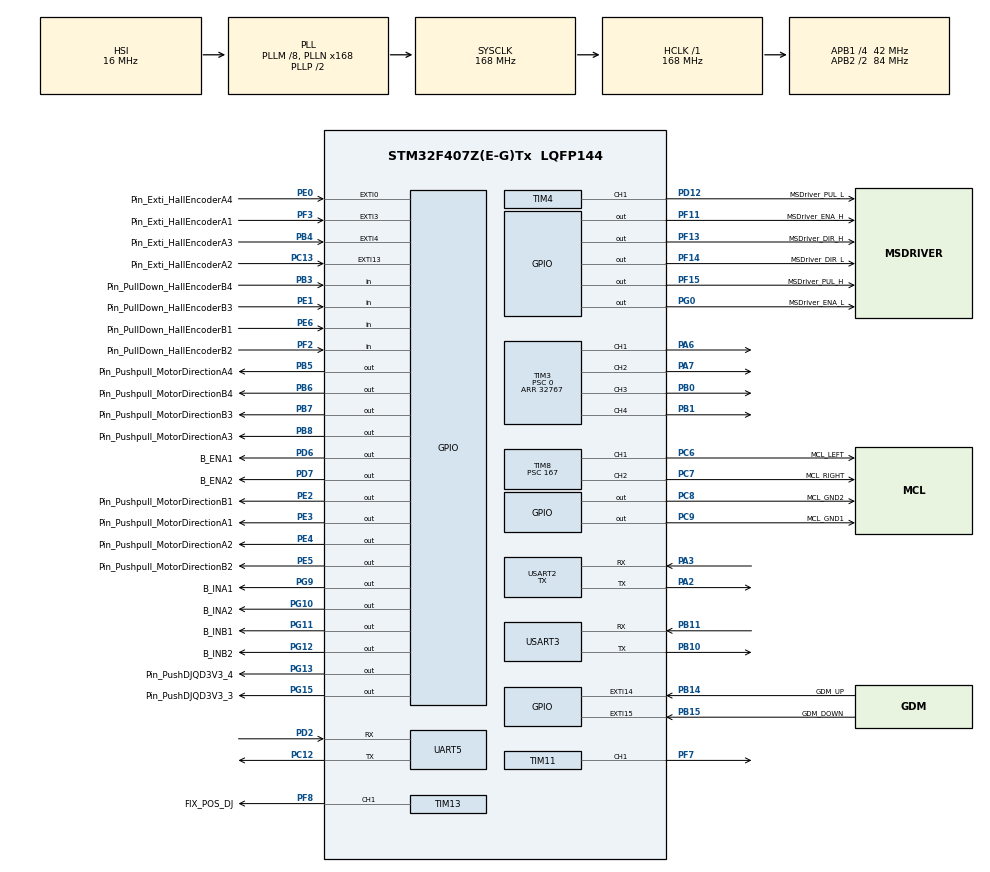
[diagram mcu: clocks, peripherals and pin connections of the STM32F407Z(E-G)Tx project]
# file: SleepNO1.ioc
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Dma.Request0=USART3_RX
Dma.Request1=USART3_TX
Dma.USART3_RX.0.Direction=DMA_PERIPH_TO_MEMORY
Dma.USART3_RX.0.FIFOMode=DMA_FIFOMODE_DISABLE
Dma.USART3_RX.0.Instance=DMA1_Stream1
Dma.USART3_RX.0.MemDataAlignment=DMA_MDATAALIGN_BYTE
Dma.USART3_RX.0.MemInc=DMA_MINC_ENABLE
Dma.USART3_RX.0.Mode=DMA_NORMAL
Dma.USART3_RX.0.PeriphDataAlignment=DMA_PDATAALIGN_BYTE
Dma.USART3_RX.0.PeriphInc=DMA_PINC_DISABLE
Dma.USART3_RX.0.Priority=DMA_PRIORITY_LOW
Dma.USART3_TX.1.Direction=DMA_MEMORY_TO_PERIPH
Dma.USART3_TX.1.FIFOMode=DMA_FIFOMODE_DISABLE
Dma.USART3_TX.1.Instance=DMA1_Stream3
Dma.USART3_TX.1.MemDataAlignment=DMA_MDATAALIGN_BYTE
Dma.USART3_TX.1.MemInc=DMA_MINC_ENABLE
Dma.USART3_TX.1.Mode=DMA_NORMAL
Dma.USART3_TX.1.PeriphDataAlignment=DMA_PDATAALIGN_BYTE
Dma.USART3_TX.1.PeriphInc=DMA_PINC_DISABLE
Dma.USART3_TX.1.Priority=DMA_PRIORITY_LOW
Mcu.Family=STM32F4
Mcu.Name=STM32F407Z(E-G)Tx
Mcu.Package=LQFP144
NVIC.DMA1_Stream1_IRQn=true\:0\:0\:false\:false\:true\:false\:true\:true
NVIC.DMA1_Stream3_IRQn=true\:0\:0\:false\:false\:true\:false\:true\:true
NVIC.EXTI0_IRQn=true\:0\:0\:false\:false\:true\:true\:true\:true
NVIC.EXTI15_10_IRQn=true\:0\:0\:false\:false\:true\:true\:true\:true
NVIC.EXTI3_IRQn=true\:0\:0\:false\:false\:true\:true\:true\:true
NVIC.EXTI4_IRQn=true\:0\:0\:false\:false\:true\:true\:true\:true
NVIC.PriorityGroup=NVIC_PRIORITYGROUP_4
NVIC.RCC_IRQn=true\:0\:0\:false\:false\:true\:true\:false\:true
NVIC.TIM3_IRQn=true\:0\:0\:false\:false\:true\:true\:true\:true
NVIC.TIM4_IRQn=true\:0\:0\:false\:false\:true\:true\:true\:true
NVIC.TIM5_IRQn=true\:0\:0\:false\:false\:true\:true\:true\:true
NVIC.TIM8_TRG_COM_TIM14_IRQn=true\:0\:0\:true\:false\:true\:true\:true\:true
NVIC.USART3_IRQn=true\:1\:0\:true\:false\:true\:true\:true\:true
PA13.Mode=Serial_Wire
PA13.Signal=SYS_JTMS-SWDIO
PA14.Mode=Serial_Wire
PA14.Signal=SYS_JTCK-SWCLK
PA2.Mode=Asynchronous
PA2.Signal=USART2_TX
PA3.Mode=Asynchronous
PA3.Signal=USART2_RX
PA6.Signal=S_TIM3_CH1
PA7.Signal=S_TIM3_CH2
PB0.Signal=S_TIM3_CH3
PB1.Signal=S_TIM3_CH4
PB10.Mode=Asynchronous
PB10.Signal=USART3_TX
PB11.Mode=Asynchronous
PB11.Signal=USART3_RX
PB14.GPIO_Label=GDM_UP
PB14.GPIO_PuPd=GPIO_PULLDOWN
PB14.Signal=GPXTI14
PB15.GPIO_Label=GDM_DOWN
PB15.GPIO_PuPd=GPIO_PULLDOWN
PB15.Signal=GPXTI15
PB3.GPIO_Label=Pin_PullDown_HallEncoderB4
PB3.GPIO_PuPd=GPIO_PULLDOWN
PB3.Signal=GPIO_Input
PB4.GPIO_Label=Pin_Exti_HallEncoderA3
PB4.Signal=GPXTI4
PB5.GPIO_Label=Pin_Pushpull_MotorDirectionA4
PB5.Signal=GPIO_Output
PB6.GPIO_Label=Pin_Pushpull_MotorDirectionB4
PB6.Signal=GPIO_Output
PB7.GPIO_Label=Pin_Pushpull_MotorDirectionB3
PB7.Signal=GPIO_Output
PB8.GPIO_Label=Pin_Pushpull_MotorDirectionA3
PB8.Signal=GPIO_Output
PC12.Mode=Asynchronous
PC12.Signal=UART5_TX
PC13-ANTI_TAMP.GPIO_Label=Pin_Exti_HallEncoderA2
PC13-ANTI_TAMP.Signal=GPXTI13
PC6.GPIO_Label=MCL_LEFT
PC6.Signal=S_TIM8_CH1
PC7.GPIO_Label=MCL_RIGHT
PC7.Signal=S_TIM8_CH2
PC8.GPIO_Label=MCL_GND2
PC8.Signal=GPIO_Output
PC9.GPIO_Label=MCL_GND1
PC9.Signal=GPIO_Output
PD12.GPIO_Label=MSDriver_PUL_L
PD12.Signal=S_TIM4_CH1
PD2.Mode=Asynchronous
PD2.Signal=UART5_RX
PD6.GPIO_Label=B_ENA1
PD6.Signal=GPIO_Output
PD7.GPIO_Label=B_ENA2
PD7.Signal=GPIO_Output
PE0.GPIO_Label=Pin_Exti_HallEncoderA4
PE0.Signal=GPXTI0
PE1.GPIO_Label=Pin_PullDown_HallEncoderB3
PE1.GPIO_PuPd=GPIO_PULLDOWN
PE1.Signal=GPIO_Input
PE2.GPIO_Label=Pin_Pushpull_MotorDirectionB1
PE2.Signal=GPIO_Output
PE3.GPIO_Label=Pin_Pushpull_MotorDirectionA1
PE3.Signal=GPIO_Output
PE4.GPIO_Label=Pin_Pushpull_MotorDirectionA2
PE4.Signal=GPIO_Output
PE5.GPIO_Label=Pin_Pushpull_MotorDirectionB2
PE5.Signal=GPIO_Output
PE6.GPIO_Label=Pin_PullDown_HallEncoderB1
PE6.GPIO_PuPd=GPIO_PULLDOWN
PE6.Signal=GPIO_Input
PF11.GPIO_Label=MSDriver_ENA_H
PF11.PinState=GPIO_PIN_SET
PF11.Signal=GPIO_Output
PF13.GPIO_Label=MSDriver_DIR_H
PF13.PinState=GPIO_PIN_SET
PF13.Signal=GPIO_Output
PF14.GPIO_Label=MSDriver_DIR_L
PF14.Signal=GPIO_Output
PF15.GPIO_Label=MSDriver_PUL_H
PF15.PinState=GPIO_PIN_SET
PF15.Signal=GPIO_Output
PF2.GPIO_Label=Pin_PullDown_HallEncoderB2
PF2.GPIO_PuPd=GPIO_PULLDOWN
PF2.Signal=GPIO_Input
PF3.GPIO_Label=Pin_Exti_HallEncoderA1
PF3.Signal=GPXTI3
PF7.Signal=S_TIM11_CH1
PF8.GPIO_Label=FIX_POS_DJ
PF8.Signal=S_TIM13_CH1
PG0.GPIO_Label=MSDriver_ENA_L
PG0.Signal=GPIO_Output
PG10.GPIO_Label=B_INA2
PG10.Signal=GPIO_Output
PG11.GPIO_Label=B_INB1
PG11.Signal=GPIO_Output
PG12.GPIO_Label=B_INB2
PG12.Signal=GPIO_Output
PG13.GPIO_Label=Pin_PushDJQD3V3_4
PG13.GPIO_PuPd=GPIO_NOPULL
PG13.PinState=GPIO_PIN_SET
PG13.Signal=GPIO_Output
PG15.GPIO_Label=Pin_PushDJQD3V3_3
PG15.GPIO_PuPd=GPIO_NOPULL
PG15.PinState=GPIO_PIN_SET
PG15.Signal=GPIO_Output
PG9.GPIO_Label=B_INA1
PG9.Signal=GPIO_Output
PH0-OSC_IN.Mode=HSE-External-Oscillator
PH0-OSC_IN.Signal=RCC_OSC_IN
PH1-OSC_OUT.Mode=HSE-External-Oscillator
PH1-OSC_OUT.Signal=RCC_OSC_OUT
ProjectManager.HeapSize=0x200
ProjectManager.StackSize=0x400
ProjectManager.TargetToolchain=MDK-ARM V5.32
RCC.48MHZClocksFreq_Value=84000000
RCC.AHBFreq_Value=168000000
RCC.APB1CLKDivider=RCC_HCLK_DIV4
RCC.APB1Freq_Value=42000000
RCC.APB1TimFreq_Value=84000000
RCC.APB2CLKDivider=RCC_HCLK_DIV2
RCC.APB2Freq_Value=84000000
RCC.APB2TimFreq_Value=168000000
RCC.CortexFreq_Value=168000000
RCC.HCLKFreq_Value=168000000
RCC.HSE_VALUE=25000000
RCC.HSI_VALUE=16000000
RCC.LSE_VALUE=32768
RCC.PLLM=8
RCC.PLLN=168
RCC.SYSCLKFreq_VALUE=168000000
RCC.SYSCLKSource=RCC_SYSCLKSOURCE_PLLCLK
RCC.VCOOutputFreq_Value=336000000
SH.S_TIM11_CH1.0=TIM11_CH1,PWM Generation1 CH1
SH.S_TIM13_CH1.0=TIM13_CH1,PWM Generation1 CH1
SH.S_TIM3_CH1.0=TIM3_CH1,PWM Generation1 CH1
SH.S_TIM3_CH2.0=TIM3_CH2,PWM Generation2 CH2
SH.S_TIM3_CH3.0=TIM3_CH3,PWM Generation3 CH3
SH.S_TIM3_CH4.0=TIM3_CH4,PWM Generation4 CH4
SH.S_TIM4_CH1.0=TIM4_CH1,PWM Generation1 CH1
SH.S_TIM8_CH1.0=TIM8_CH1,PWM Generation1 CH1
SH.S_TIM8_CH2.0=TIM8_CH2,PWM Generation2 CH2
TIM11.Channel=TIM_CHANNEL_1
TIM11.Period=19999
TIM11.Prescaler=167
TIM13.AutoReloadPreload=TIM_AUTORELOAD_PRELOAD_ENABLE
TIM13.Channel=TIM_CHANNEL_1
TIM13.Period=19999
TIM13.Prescaler=167
TIM14.Period=4999
TIM14.Prescaler=167
TIM3.AutoReloadPreload=TIM_AUTORELOAD_PRELOAD_ENABLE
TIM3.Channel-PWM\ Generation1\ CH1=TIM_CHANNEL_1
TIM3.Channel-PWM\ Generation2\ CH2=TIM_CHANNEL_2
TIM3.Channel-PWM\ Generation3\ CH3=TIM_CHANNEL_3
TIM3.Channel-PWM\ Generation4\ CH4=TIM_CHANNEL_4
TIM3.Period=32767
TIM3.Prescaler=0
TIM4.AutoReloadPreload=TIM_AUTORELOAD_PRELOAD_ENABLE
TIM4.Channel-PWM\ Generation1\ CH1=TIM_CHANNEL_1
TIM4.Period=1999
TIM4.Prescaler=167
TIM5.Period=4999
TIM5.Prescaler=167
TIM8.Channel-PWM\ Generation1\ CH1=TIM_CHANNEL_1
TIM8.Channel-PWM\ Generation2\ CH2=TIM_CHANNEL_2
TIM8.Period=1999
TIM8.Prescaler=167
UART5.VirtualMode=Asynchronous
USART2.Mode=MODE_TX
USART2.VirtualMode=VM_ASYNC
USART3.VirtualMode=VM_ASYNC
VP_TIM11_VS_ClockSourceINT.Mode=Enable_Timer
VP_TIM13_VS_ClockSourceINT.Mode=Enable_Timer
VP_TIM14_VS_ClockSourceINT.Mode=Enable_Timer
VP_TIM4_VS_ClockSourceINT.Mode=Internal
VP_TIM5_VS_ClockSourceINT.Mode=Internal
board=custom

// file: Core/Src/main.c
/* USER CODE BEGIN Header */
/**
  ******************************************************************************
  * @file           : main.c
  * @brief          : Main program body
  ******************************************************************************
  * @attention
  *
  * Copyright (c) 2024 STMicroelectronics.
  * All rights reserved.
  *
  * This software is licensed under terms that can be found in the LICENSE file
  * in the root directory of this software component.
  * If no LICENSE file comes with this software, it is provided AS-IS.
  *
  ******************************************************************************
  */
/* USER CODE END Header */
#include "main.h"
#include "dma.h"
#include "tim.h"
#include "usart.h"
#include "gpio.h"

/* USER CODE BEGIN Includes */
#include "Shoot.h"
#include "Chassis.hpp"
#include "com_to_raspi.h"
#include "camera_pos_dj.h"
#include "Task.h"

/* USER CODE END Includes */

/* USER CODE BEGIN PV */
Class_Chassis Chassis;
/* USER CODE END PV */

void SystemClock_Config(void);

/* USER CODE BEGIN 0 */
uint32_t cnt=0;
/* USER CODE END 0 */

int main(void)
{

  /* MCU Configuration--------------------------------------------------------*/

  /* Reset of all peripherals, Initializes the Flash interface and the Systick. */
  HAL_Init();

  /* Configure the system clock */
  SystemClock_Config();

  /* Initialize all configured peripherals */
  MX_GPIO_Init();
  MX_DMA_Init();
  MX_TIM4_Init();
  MX_TIM5_Init();
  MX_TIM14_Init();
  MX_TIM13_Init();
  MX_TIM3_Init();
  MX_USART2_UART_Init();
  MX_TIM11_Init();
  MX_TIM8_Init();
  MX_USART3_UART_Init();
  MX_UART5_Init();
  /* USER CODE BEGIN 2 */
  Task_TIM_Init(); //first!
  SHOOT_Init();
	CAMERA_POS_DJ_Init();
  JiXieBi_Init();
  com_raspi_Init();

//	HAL_UART_Receive_DMA(&huart3,(&huart3)->pRxBuffPtr,7);
//  HAL_UART_Receive_IT(&huart3,(&huart3)->pRxBuffPtr,7);
//  HAL_UARTEx_ReceiveToIdle_DMA(&huart3,(&huart3)->pRxBuffPtr,7);
//  HAL_UARTEx_ReceiveToIdle_IT(&huart3,(&huart3)->pRxBuffPtr,7);
  send_message_to_raspi(0x33);

//---------------------------------底盘调试代码------------------------------------------------------
  HAL_TIM_PWM_Start(&htim3,TIM_CHANNEL_1);	//启动时钟
  //底盘初始
  Chassis.Init(CHASSIS_MOTOR_PWM_DRIVER_TIM, CHASSIS_MOTOR_CALCULATE_TIM);
  Chassis.Set_Control_Method(Control_Method_ANGLE);     //Control_Method_OMEGA   OPENLOOP  ANGLE
  //�?????????????????????:
  //使能计算时钟
  HAL_TIM_Base_Start_IT(&CHASSIS_MOTOR_CALCULATE_TIM);

  // SpeedTypeDef v_front=
  // {
  //   0, 0.4, 0,  0,0,0,0
  // };
  // SpeedTypeDef v_back=
  // {
  //   0, -0.4, 0,  0,0,0,0
  // };
  // SpeedTypeDef v_right=
  // {
  //   0.4, 0, 0,   0,0,0,0
  // };
  // SpeedTypeDef v_left=
  // {
  //   -0.4, 0, 0,   0,0,0,0
  // };
  // SpeedTypeDef v_rotate=
  // {
  //   0, 0, 1.0,    0,0,0,0
  // };
  // SpeedTypeDef v_crotate=
  // {
  //   0, 0, -1.0 ,    0,0,0,0
  // };
  // SpeedTypeDef v_stop=
  // {
  //   0, 0, 0,    0,0,0,0
  // };

  /* USER CODE END 2 */

  /* Infinite loop */
  /* USER CODE BEGIN WHILE */
  // __HAL_TIM_SetCompare(&htim3, TIM_CHANNEL_1, 4000);
  // HAL_GPIO_WritePin(GPIOE,GPIO_PIN_2,GPIO_PIN_SET);
  // HAL_GPIO_WritePin(GPIOE,GPIO_PIN_3,GPIO_PIN_RESET);

  // __HAL_TIM_SetCompare(&htim3, TIM_CHANNEL_2, 8000);
  // HAL_GPIO_WritePin(GPIOE,GPIO_PIN_4,GPIO_PIN_SET);
  // HAL_GPIO_WritePin(GPIOE,GPIO_PIN_5,GPIO_PIN_RESET);

  // __HAL_TIM_SetCompare(&htim3, TIM_CHANNEL_3, 8000);
  // HAL_GPIO_WritePin(GPIOB,GPIO_PIN_7,GPIO_PIN_SET);
  // HAL_GPIO_WritePin(GPIOB,GPIO_PIN_8,GPIO_PIN_RESET);

  // __HAL_TIM_SetCompare(&htim3, TIM_CHANNEL_4, 8000);
  // HAL_GPIO_WritePin(GPIOB,GPIO_PIN_5,GPIO_PIN_SET);
  // HAL_GPIO_WritePin(GPIOB,GPIO_PIN_6,GPIO_PIN_RESET);

  while (1)
  {
    Task_Schedule();
    // if(cnt == 5000000)  JiXieBi_JIAQU();
    cnt++;

    //if(cnt % 5000000 == 66666){

    //   SHOOT_set_speed(730); //600-750;
     //  SHOOT_START();
    // CAMERA_POS_DJ_ANGLE_SET(0);
    // CAMERA_POS_DJ_ANGLE_ADD(90);
      //SHOOT_START();
    //   JiXieBi_JIAQU();
    //Chassis.Set_add_rad(0,0,100*PI*CHASSIS_ROTATE_RAD_TO_WHEEL_RAD);
    //   // Chassis.Set_add_rad(0,0,CHASSIS_ROTATE_RAD_TO_WHEEL_RAD*PI);//117 10pi ,244 20pi ,184 20pi*4.045 - 10 = 244
    //}
    // else if(cnt == 4000000){
    //   //  Chassis.Set_add_rad(0,0,-0.5*PI*CHASSIS_ROTATE_RAD_TO_WHEEL_RAD);
    // }
    // else if(cnt == 6000000){
    //   //  Chassis.Set_add_rad(0,0,-0.5*PI*CHASSIS_ROTATE_RAD_TO_WHEEL_RAD);
    // }
    // else if(cnt == 8000000){
    //   //  Chassis.Set_add_rad(0,0,-0.5*PI*CHASSIS_ROTATE_RAD_TO_WHEEL_RAD);
    // }
    // else if(cnt == 10000000){
    //   //  Chassis.Set_add_rad(0,0,-0.5*PI*CHASSIS_ROTATE_RAD_TO_WHEEL_RAD);
    // }
    // else if(cnt == 12000000){
    //   //  Chassis.Set_add_rad(0,0,-0.5*PI*CHASSIS_ROTATE_RAD_TO_WHEEL_RAD);
    // }
    // SERVOCMD_MOVE_TIME_WRITE(4,800,1000);
    // HAL_Delay(1000);
    // MOCALUN_start(750);
    // HAL_Delay(3000);
    // MOCALUN_stop();
    // HAL_Delay(2000);
    //---------------------------------底盘调试代码------------------------------------------------------
  // if(cnt == 1)Chassis.Set_add_rad(4*PI,0,0);
  // if(cnt == 10000000) Chassis.Set_add_rad(-4*PI,0,0);
  // if(cnt == 20000000) Chassis.Set_add_rad(0,4*PI,0);
  // if(cnt == 30000000) Chassis.Set_add_rad(0,-4*PI,0);

  // Chassis.Motor[0].Set_Angle_Target(10*PI);
  // Chassis.Motor[1].Set_Angle_Target(10*PI);
  // Chassis.Motor[2].Set_Angle_Target(10*PI);
  // Chassis.Motor[3].Set_Angle_Target(10*PI);

  //  Chassis.Set_Velocity(v_stop);
  //  HAL_Delay(2000);
  //  Chassis.Set_Velocity(v_back);
  //  HAL_Delay(2000); Chassis.Set_Velocity(v_stop); HAL_Delay(1000);
	//  Chassis.Set_Velocity(v_front);
  //  HAL_Delay(2000); Chassis.Set_Velocity(v_stop); HAL_Delay(1000);
  //  Chassis.Set_Velocity(v_right);
  //  HAL_Delay(2000); Chassis.Set_Velocity(v_stop); HAL_Delay(1000);
  //  Chassis.Set_Velocity(v_rotate);
  //  HAL_Delay(2000); Chassis.Set_Velocity(v_stop); HAL_Delay(1000);
  //  Chassis.Set_Velocity(v_crotate);
  //  HAL_Delay(2000); Chassis.Set_Velocity(v_stop); HAL_Delay(1000);
  //  Chassis.Set_Velocity(v_left);
  //  HAL_Delay(2000); Chassis.Set_Velocity(v_stop); HAL_Delay(1000);
  //  Chassis.Set_Velocity(v_back);
  //  HAL_Delay(2000); Chassis.Set_Velocity(v_stop); HAL_Delay(1000);

  // __HAL_TIM_SetCompare(&Driver_PWM_TIM, TIM_CHANNEL_2, 16000);
  // HAL_GPIO_WritePin(GPIOE,GPIO_PIN_4,GPIO_PIN_SET);
  // HAL_GPIO_WritePin(GPIOE,GPIO_PIN_5,GPIO_PIN_RESET);

  // HAL_Delay(2000);
  // __HAL_TIM_SetCompare(&htim3, TIM_CHANNEL_4, 0);
  // __HAL_TIM_SetCompare(&htim3, TIM_CHANNEL_3, 0);
  // __HAL_TIM_SetCompare(&htim3, TIM_CHANNEL_2, 0);
  //__HAL_TIM_SetCompare(&htim3, TIM_CHANNEL_1, 4000);

  // ---------------------------------机械臂调试代�????????????????????????????????????????-----------------------------------------------------
//  SERVOCMD_MOVE_TIME_WRITE(4,500,1000);
//  SERVOCMD_MOVE_TIME_WRITE(3,500,1000);
//  HAL_Delay(2000);
//  SERVOCMD_MOVE_TIME_WRITE(3,800,1000);
//  SERVOCMD_MOVE_TIME_WRITE(4,1000,1000);
//  HAL_Delay(2000);
// ---------------------------------Camera_Pos_DJ-----------------------------------------------------
  //  CAMERA_POS_DJ_ANGLE(0);
	//  HAL_Delay(2000);
  //  CAMERA_POS_DJ_ANGLE(45);
	//  HAL_Delay(2000);
	//  CAMERA_POS_DJ_ANGLE(90);
  //  HAL_Delay(2000);
  //  CAMERA_POS_DJ_ANGLE(135);
	//  HAL_Delay(2000);
	//    CAMERA_POS_DJ_ANGLE(180);
	//  HAL_Delay(2000);
  //  CAMERA_POS_DJ_ANGLE(225);
	//  HAL_Delay(2000);
	//  CAMERA_POS_DJ_ANGLE(270);
  //  HAL_Delay(2000);
  //  CAMERA_POS_DJ_ANGLE(315);
	//  HAL_Delay(2000);
  // ------------------------------------beng-test------------------------------------------------

    /* USER CODE END WHILE */

  }
}

void SystemClock_Config(void)
{
  RCC_OscInitTypeDef RCC_OscInitStruct = {0};
  RCC_ClkInitTypeDef RCC_ClkInitStruct = {0};

  /** Configure the main internal regulator output voltage
  */
  __HAL_RCC_PWR_CLK_ENABLE();
  __HAL_PWR_VOLTAGESCALING_CONFIG(PWR_REGULATOR_VOLTAGE_SCALE1);

  /** Initializes the RCC Oscillators according to the specified parameters
  * in the RCC_OscInitTypeDef structure.
  */
  RCC_OscInitStruct.OscillatorType = RCC_OSCILLATORTYPE_HSI;
  RCC_OscInitStruct.HSIState = RCC_HSI_ON;
  RCC_OscInitStruct.HSICalibrationValue = RCC_HSICALIBRATION_DEFAULT;
  RCC_OscInitStruct.PLL.PLLState = RCC_PLL_ON;
  RCC_OscInitStruct.PLL.PLLSource = RCC_PLLSOURCE_HSI;
  RCC_OscInitStruct.PLL.PLLM = 8;
  RCC_OscInitStruct.PLL.PLLN = 168;
  RCC_OscInitStruct.PLL.PLLP = RCC_PLLP_DIV2;
  RCC_OscInitStruct.PLL.PLLQ = 4;
  if (HAL_RCC_OscConfig(&RCC_OscInitStruct) != HAL_OK)
  {
    Error_Handler();
  }

  /** Initializes the CPU, AHB and APB buses clocks
  */
  RCC_ClkInitStruct.ClockType = RCC_CLOCKTYPE_HCLK|RCC_CLOCKTYPE_SYSCLK
                              |RCC_CLOCKTYPE_PCLK1|RCC_CLOCKTYPE_PCLK2;
  RCC_ClkInitStruct.SYSCLKSource = RCC_SYSCLKSOURCE_PLLCLK;
  RCC_ClkInitStruct.AHBCLKDivider = RCC_SYSCLK_DIV1;
  RCC_ClkInitStruct.APB1CLKDivider = RCC_HCLK_DIV4;
  RCC_ClkInitStruct.APB2CLKDivider = RCC_HCLK_DIV2;

  if (HAL_RCC_ClockConfig(&RCC_ClkInitStruct, FLASH_LATENCY_5) != HAL_OK)
  {
    Error_Handler();
  }
}

/* USER CODE BEGIN 4 */
 void HAL_UART_RxCpltCallback(UART_HandleTypeDef *huart){
   if(huart == &RASPI_USINGUART){
     handle_received_data();
   }
 }

/* USER CODE END 4 */

void Error_Handler(void)
{
  __disable_irq();
  while (1)
  {
  }
}
